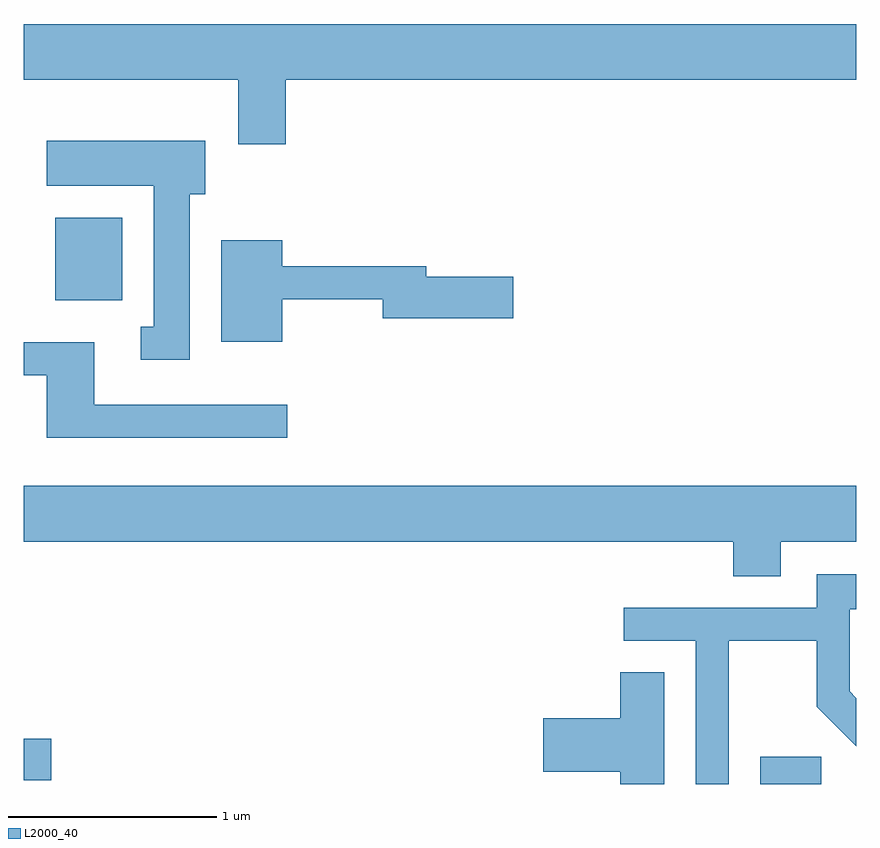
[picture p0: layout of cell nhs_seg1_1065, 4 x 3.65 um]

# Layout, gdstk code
import gdstk
lib = gdstk.Library(unit=1e-6, precision=1e-09)
def R(c, l, rs):  # rectangles x0, y0, x1, y1
    for r in rs: c.add(gdstk.rectangle(r[:2], r[2:], *l))
def P(c, l, *ps):  # polygons
    for p in ps: c.add(gdstk.Polygon(p, *l))
L2000_40 = (2000, 40)

nhs_seg1_1065 = lib.new_cell('nhs_seg1_1065')
R(nhs_seg1_1065, L2000_40, [(221.151,931.712,221.444,931.844), (217.611,931.731,217.744,931.929), (217.761,934.036,218.084,934.434)])
P(nhs_seg1_1065, L2000_40, [(218.869,935.096),(221.611,935.096),(221.611,935.364),(217.611,935.364),(217.611,935.096),(218.641,935.096),(218.641,934.786),(218.869,934.786)],
  [(218.409,934.546),(218.484,934.546),(218.484,934.804),(217.721,934.804),(217.721,934.586),(218.236,934.586),(218.236,933.909),(218.173,933.909),(218.173,933.751),(218.409,933.751)],
  [(218.854,934.041),(219.336,934.041),(219.336,933.951),(219.964,933.951),(219.964,934.149),(219.544,934.149),(219.544,934.199),(218.854,934.199),(218.854,934.324),(218.561,934.324),(218.561,933.836),(218.854,933.836)],
  [(218.878,933.534),(217.949,933.534),(217.949,933.834),(217.611,933.834),(217.611,933.676),(217.721,933.676),(217.721,933.376),(218.878,933.376)],
  [(221.249,932.876),(221.611,932.876),(221.611,933.144),(217.611,933.144),(217.611,932.876),(221.021,932.876),(221.021,932.711),(221.249,932.711)],
  [(220.999,932.401),(221.421,932.401),(221.421,932.084),(221.611,931.894),(221.611,932.125),(221.579,932.157),(221.579,932.551),(221.611,932.551),(221.611,932.719),(221.421,932.719),(221.421,932.559),(220.493,932.559),(220.493,932.401),(220.841,932.401),(220.841,931.712),(220.999,931.712)],
  [(220.689,932.249),(220.476,932.249),(220.476,932.029),(220.106,932.029),(220.106,931.771),(220.476,931.771),(220.476,931.712),(220.689,931.712)])

lib.write_gds('nhs_seg1_1065.gds')
